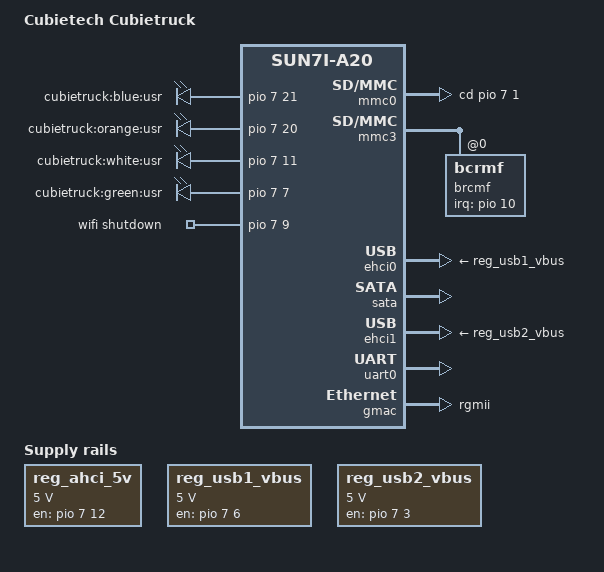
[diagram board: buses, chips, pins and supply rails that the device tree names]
/*
 * Copyright 2013 Oliver Schinagl
 *
 * Oliver Schinagl <oliver@schinagl.nl>
 *
 * The code contained herein is licensed under the GNU General Public
 * License. You may obtain a copy of the GNU General Public License
 * Version 2 or later at the following locations:
 *
 * http://www.opensource.org/licenses/gpl-license.html
 * http://www.gnu.org/copyleft/gpl.html
 */

/dts-v1/;
/include/ "sun7i-a20.dtsi"

/ {
	model = "Cubietech Cubietruck";
	compatible = "cubietech,cubietruck", "allwinner,sun7i-a20";

	soc@01c00000 {
		mmc0: mmc@01c0f000 {
			pinctrl-names = "default";
			pinctrl-0 = <&mmc0_pins_a>;
			pinctrl-1 = <&mmc0_cd_pin_cubietruck>;
			cd-gpios = <&pio 7 1 0>; /* PH1 */
			cd-mode = <1>;
			status = "okay";
		};

		mmc3: mmc@01c12000 {
			pinctrl-names = "default", "default";
			pinctrl-0 = <&mmc3_pins_a>;
			pinctrl-1 = <&wifi_host_wake_pin>;
			cd-mode = <2>;
			status = "okay";

			brcmf: bcrmf@0 {
				/* out of band interrupt not working */
				/* compatible = "broadcom,bcm43362"; */
				interrupt-parent = <&pio>;
				interrupts = <10 2>; /* EINT10 */
				status = "okay";
			};
		};

		ehci0: ehci0@0x01c14000 {
			vbus-supply = <&reg_usb1_vbus>;
			status = "okay";
		};

		sata: ahci@01c18000 {
			pwr-supply = <&reg_ahci_5v>;
			status = "okay";
		};

		ehci1: ehci1@0x01c1c000 {
			vbus-supply = <&reg_usb2_vbus>;
			status = "okay";
		};

		pinctrl@01c20800 {
			mmc0_cd_pin_cubietruck: mmc0_cd_pin@0 {
				allwinner,pins = "PH1";
				allwinner,function = "gpio_in";
				allwinner,drive = <0>;
				allwinner,pull = <0>;
			};

			mmc3_pins_a: mmc3@0 {
				/* AP6210 requires pull-up */
				allwinner,pull = <1>;
			};

			ahci_pwr_pin_cubietruck: ahci_pwr_pin@0 {
				allwinner,pins = "PH12";
				allwinner,function = "gpio_out";
				allwinner,drive = <0>;
				allwinner,pull = <0>;
			};

			led_pins_cubietruck: led_pins@0 {
				allwinner,pins = "PH7", "PH11", "PH20", "PH21";
				allwinner,function = "gpio_out";
				allwinner,drive = <0>;
				allwinner,pull = <0>;
			};

			usb1_vbus_pin: usb1_vbus_pin@0 {
					allwinner,pins = "PH6";
					allwinner,function = "gpio_out";
					allwinner,drive = <0>;
					allwinner,pull = <2>;
			};

			usb2_vbus_pin: usb2_vbus_pin@0 {
					allwinner,pins = "PH3";
					allwinner,function = "gpio_out";
					allwinner,drive = <0>;
					allwinner,pull = <2>;
			};

			wifi_pwr_pin: wifi_pwr_pin@0 {
				allwinner,pins = "PH9";
				allwinner,function = "gpio_out";
				allwinner,drive = <0>;
				allwinner,pull = <0>;
			};

			wifi_host_wake_pin: wifi_host_wake_pin@0 {
				allwinner,pins = "PH10";
				allwinner,function = "gpio_in";
				allwinner,drive = <0>;
				allwinner,pull = <0>;
			};
		};

		uart0: serial@01c28000 {
			pinctrl-names = "default";
			pinctrl-0 = <&uart0_pins_a>;
			status = "okay";
		};

		gmac: ethernet@01c50000 {
			pinctrl-names = "default";
			pinctrl-0 = <&gmac_pins_rgmii>;
			snps,phy-addr = <1>;
			phy-mode = "rgmii";
			status = "okay";
		};
	};

	leds {
		compatible = "gpio-leds";
		pinctrl-names = "default";
		pinctrl-0 = <&led_pins_cubietruck>;

		blue {
			label = "cubietruck:blue:usr";
			gpios = <&pio 7 21 0>;
		};

		orange {
			label = "cubietruck:orange:usr";
			gpios = <&pio 7 20 0>;
		};

		white {
			label = "cubietruck:white:usr";
			gpios = <&pio 7 11 0>;
		};

		green {
			label = "cubietruck:green:usr";
			gpios = <&pio 7 7 0>;
		};
	};

	regulators {
		compatible = "simple-bus";
		pinctrl-names = "default";

		reg_ahci_5v: ahci-5v {
			compatible = "regulator-fixed";
			regulator-name = "ahci-5v";
			regulator-min-microvolt = <5000000>;
			regulator-max-microvolt = <5000000>;
			pinctrl-0 = <&ahci_pwr_pin_cubietruck>;
			gpio = <&pio 7 12 0>;
			enable-active-high;
		};

		reg_usb1_vbus: usb1-vbus {
			compatible = "regulator-fixed";
			pinctrl-names = "default";
			pinctrl-0 = <&usb1_vbus_pin>;
			regulator-name = "usb1-vbus";
			regulator-min-microvolt = <5000000>;
			regulator-max-microvolt = <5000000>;
			enable-active-high;
			gpio = <&pio 7 6 0>;
		};

		reg_usb2_vbus: usb2-vbus {
			compatible = "regulator-fixed";
			pinctrl-names = "default";
			pinctrl-0 = <&usb2_vbus_pin>;
			regulator-name = "usb2-vbus";
			regulator-min-microvolt = <5000000>;
			regulator-max-microvolt = <5000000>;
			enable-active-high;
			gpio = <&pio 7 3 0>;
		};
	};

	rfkill-switches {
		compatible = "simple-bus";
		pinctrl-names = "default";

		rfkill_wifi {
			compatible = "rfkill-gpio";
			pinctrl-names = "default";
			pinctrl-0 = <&wifi_pwr_pin>;
			shutdown-gpio = <&pio 7 9 0>; /* PH9 */
			label = "wifi";
			type = <1>;
		};
	};
};
